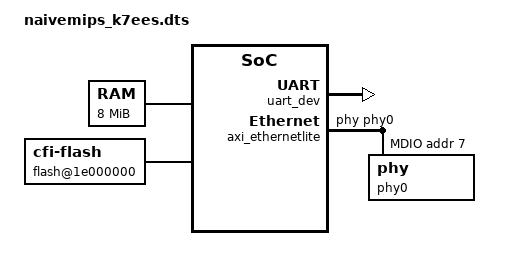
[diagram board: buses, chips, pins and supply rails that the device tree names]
/dts-v1/;

#include "microAptiv.dtsi"

/ {
	compatible = "thucst,thinpad";

	memory {
		device_type = "memory";
		reg = <0x0 0x00800000>;
	};

	cpuintc: interrupt-controller@0 {
		#address-cells = <0>;
		#interrupt-cells = <1>;
		interrupt-controller;
		compatible = "mti,cpu-interrupt-controller";
	};

	aliases {
		console = &uart_dev;
	};

	uart_dev: serial@10400000 {
		compatible = "naivemips-uart";
		reg = <0x1fd003f8 0x8>;

		clock-frequency = <11059200>;

	};
	flash@1e000000 {
		compatible = "cfi-flash";
		reg = <0x1e000000 0x800000>;
		bank-width = <2>;
	};
	axi_ethernetlite: ethernet@1c030000 {
		compatible = "xlnx,xps-ethernetlite-1.00.a";
		device_type = "network";
		local-mac-address = [08 86 4C 0D F7 09];
		phy-handle = <&phy0>;
		reg = <0x1c030000 0x10000>;
		xlnx,duplex = <0x1>;
		xlnx,include-global-buffers = <0x1>;
		xlnx,include-internal-loopback = <0x0>;
		xlnx,include-mdio = <0x1>;
		xlnx,instance = "axi_ethernetlite_inst";
		xlnx,rx-ping-pong = <0x1>;
		xlnx,s-axi-id-width = <0x1>;
		xlnx,tx-ping-pong = <0x1>;
		xlnx,use-internal = <0x0>;
		mdio {
			#address-cells = <1>;
			#size-cells = <0>;
			phy0: phy@7 {
				device_type = "ethernet-phy";
				reg = <7>;
			} ;
		} ;
    } ;
};

